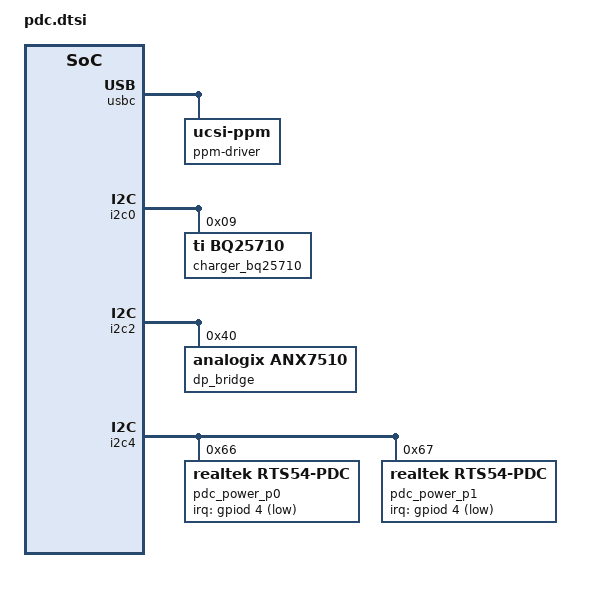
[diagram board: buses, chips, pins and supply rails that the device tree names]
/* Copyright 2024 The ChromiumOS Authors
 * Use of this source code is governed by a BSD-style license that can be
 * found in the LICENSE file.
 */

 #include <usbc-policy.dtsi>

/ {
	usbc {
		#address-cells = <1>;
		#size-cells = <0>;

		usbc_port0: port0@0 {
			compatible = "named-usbc-port";
			reg = <0>;
			chg = <&charger_bq25710>;
			pdc = <&pdc_power_p0>;
			policy = <&cros_policy>;
			usb-mux-chain-0 {
				compatible = "cros-ec,usb-mux-chain";
				usb-muxes = <&virtual_mux_0>;
			};
		};

		port0-muxes {
			virtual_mux_0: virtual-mux-0 {
				compatible = "cros-ec,usbc-mux-virtual";
			};
		};

		usbc_port1: port1@1 {
			compatible = "named-usbc-port";
			reg = <1>;
			pdc = <&pdc_power_p1>;
			policy = <&cros_policy>;
			usb-mux-chain-1 {
				compatible = "cros-ec,usb-mux-chain";
				usb-muxes = <&virtual_mux_1>;
			};
		};

		port1-muxes {
			virtual_mux_1: virtual-mux-1 {
				compatible = "cros-ec,usbc-mux-virtual";
			};
		};
		ppm-driver {
			compatible = "ucsi-ppm";
		};
	};
};

&i2c0 {
	charger_bq25710: bq25710@9 {
		compatible = "ti,bq25710";
		status = "okay";
		reg = <0x9>;
	};
};

&i2c2 {
	dp_bridge: anx7510-bridge@40 {
		compatible = "analogix,anx7510";
		status = "okay";
		reg = <0x40>;
	};
	/* TODO(b:380121396): enable PDC I2C_S port if we need it */
};

&i2c4 {
	pdc_power_p0: rts54-pdc@66 {
		compatible = "realtek,rts54-pdc";
		reg = <0x66>;
		irq-gpios = <&gpiod 4 GPIO_ACTIVE_LOW>;
		ccd;
	};
	pdc_power_p1: rts54-pdc@67 {
		compatible = "realtek,rts54-pdc";
		reg = <0x67>;
		irq-gpios = <&gpiod 4 GPIO_ACTIVE_LOW>;
	};
};
